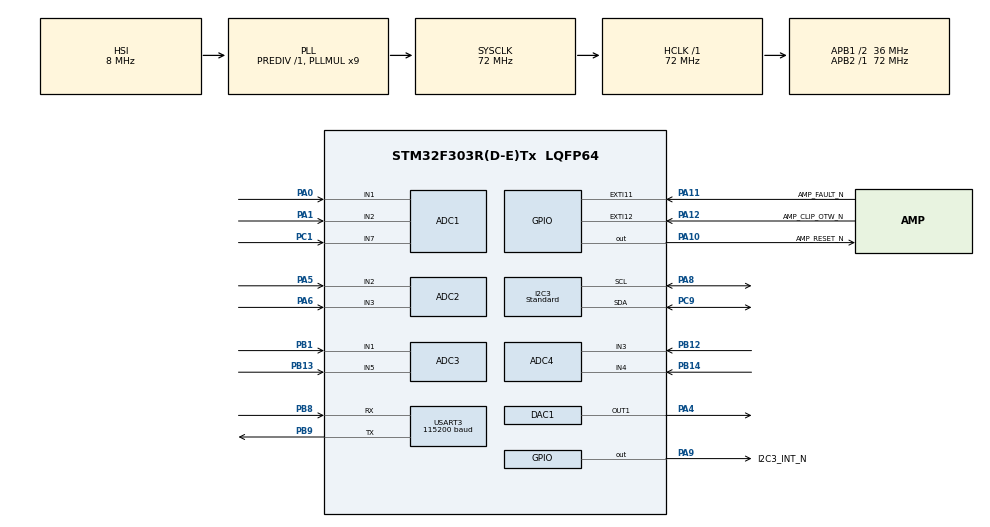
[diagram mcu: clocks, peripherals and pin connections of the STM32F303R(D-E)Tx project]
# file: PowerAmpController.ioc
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ADC1.Channel-2\#ChannelRegularConversion=ADC_CHANNEL_1
ADC1.Channel-4\#ChannelRegularConversion=ADC_CHANNEL_2
ADC1.ContinuousConvMode=ENABLE
ADC1.DMAAccessModeView=DISABLED
ADC1.DMAContinuousRequests=ENABLE
ADC1.DataAlign=ADC_DATAALIGN_LEFT
ADC1.EnableInjectedConversion=ENABLE
ADC1.InjNumberOfConversion=1
ADC1.InjectedChannel-3\#ChannelInjectedConversion=ADC_CHANNEL_7
ADC1.InjectedOffset-3\#ChannelInjectedConversion=0
ADC1.InjectedOffsetNumber-3\#ChannelInjectedConversion=ADC_OFFSET_3
ADC1.InjectedRank-3\#ChannelInjectedConversion=1
ADC1.InjectedSamplingTime-3\#ChannelInjectedConversion=ADC_SAMPLETIME_181CYCLES_5
ADC1.InjectedSamplingTimeOPAMP-3\#ChannelInjectedConversion=ADC_SAMPLETIME_61CYCLES_5
ADC1.Mode=ADC_DUALMODE_REGSIMULT
ADC1.NbrOfConversion=2
ADC1.NbrOfConversionFlag=1
ADC1.Offset-2\#ChannelRegularConversion=2048
ADC1.Offset-4\#ChannelRegularConversion=2048
ADC1.OffsetNumber-2\#ChannelRegularConversion=ADC_OFFSET_1
ADC1.OffsetNumber-4\#ChannelRegularConversion=ADC_OFFSET_2
ADC1.QueueInjectedContext=DISABLE
ADC1.Rank-2\#ChannelRegularConversion=1
ADC1.Rank-4\#ChannelRegularConversion=2
ADC1.Rank1_Channel=ADC_CHANNEL_7
ADC1.SamplingTime-2\#ChannelRegularConversion=ADC_SAMPLETIME_61CYCLES_5
ADC1.SamplingTime-4\#ChannelRegularConversion=ADC_SAMPLETIME_61CYCLES_5
ADC1.SamplingTimeOPAMP-4\#ChannelRegularConversion=ADC_SAMPLETIME_7CYCLES_5
ADC1.SequencerNbRanks=1
ADC1.master=1
ADC2.Channel-5\#ChannelRegularConversion=ADC_CHANNEL_2
ADC2.Channel-6\#ChannelRegularConversion=ADC_CHANNEL_3
ADC2.DMAAccessModeView=DISABLED
ADC2.DMAContinuousRequests=ENABLE
ADC2.DataAlign=ADC_DATAALIGN_LEFT
ADC2.EnableInjectedConversion=DISABLE
ADC2.Mode=ADC_DUALMODE_REGSIMULT
ADC2.NbrOfConversion=2
ADC2.NbrOfConversionFlag=1
ADC2.Offset-5\#ChannelRegularConversion=0
ADC2.Offset-6\#ChannelRegularConversion=0
ADC2.OffsetNumber-5\#ChannelRegularConversion=ADC_OFFSET_1
ADC2.OffsetNumber-6\#ChannelRegularConversion=ADC_OFFSET_2
ADC2.Rank-5\#ChannelRegularConversion=1
ADC2.Rank-6\#ChannelRegularConversion=2
ADC2.SamplingTime-5\#ChannelRegularConversion=ADC_SAMPLETIME_61CYCLES_5
ADC2.SamplingTime-6\#ChannelRegularConversion=ADC_SAMPLETIME_61CYCLES_5
ADC2.SamplingTimeOPAMP-6\#ChannelRegularConversion=ADC_SAMPLETIME_7CYCLES_5
ADC3.Channel-0\#ChannelRegularConversion=ADC_CHANNEL_1
ADC3.Channel-1\#ChannelRegularConversion=ADC_CHANNEL_5
ADC3.ContinuousConvMode=ENABLE
ADC3.DMAAccessModeView=DISABLED
ADC3.DMAContinuousRequests=ENABLE
ADC3.DataAlign=ADC_DATAALIGN_LEFT
ADC3.EnableInjectedConversion=DISABLE
ADC3.Mode=ADC_DUALMODE_REGSIMULT
ADC3.NbrOfConversion=2
ADC3.NbrOfConversionFlag=1
ADC3.Offset-0\#ChannelRegularConversion=2048
ADC3.Offset-1\#ChannelRegularConversion=2048
ADC3.OffsetNumber-0\#ChannelRegularConversion=ADC_OFFSET_1
ADC3.OffsetNumber-1\#ChannelRegularConversion=ADC_OFFSET_2
ADC3.Rank-0\#ChannelRegularConversion=1
ADC3.Rank-1\#ChannelRegularConversion=2
ADC3.SamplingTime-0\#ChannelRegularConversion=ADC_SAMPLETIME_61CYCLES_5
ADC3.SamplingTime-1\#ChannelRegularConversion=ADC_SAMPLETIME_61CYCLES_5
ADC3.SamplingTimeOPAMP-1\#ChannelRegularConversion=ADC_SAMPLETIME_7CYCLES_5
ADC3.master=1
ADC4.Channel-0\#ChannelRegularConversion=ADC_CHANNEL_3
ADC4.Channel-1\#ChannelRegularConversion=ADC_CHANNEL_4
ADC4.DMAAccessModeView=DISABLED
ADC4.DMAContinuousRequests=ENABLE
ADC4.DataAlign=ADC_DATAALIGN_LEFT
ADC4.EnableInjectedConversion=DISABLE
ADC4.Mode=ADC_DUALMODE_REGSIMULT
ADC4.NbrOfConversion=2
ADC4.NbrOfConversionFlag=1
ADC4.Offset-0\#ChannelRegularConversion=0
ADC4.Offset-1\#ChannelRegularConversion=0
ADC4.OffsetNumber-0\#ChannelRegularConversion=ADC_OFFSET_1
ADC4.OffsetNumber-1\#ChannelRegularConversion=ADC_OFFSET_2
ADC4.Rank-0\#ChannelRegularConversion=1
ADC4.Rank-1\#ChannelRegularConversion=2
ADC4.SamplingTime-0\#ChannelRegularConversion=ADC_SAMPLETIME_61CYCLES_5
ADC4.SamplingTime-1\#ChannelRegularConversion=ADC_SAMPLETIME_61CYCLES_5
ADC4.SamplingTimeOPAMP-1\#ChannelRegularConversion=ADC_SAMPLETIME_7CYCLES_5
Dma.ADC1.0.Direction=DMA_PERIPH_TO_MEMORY
Dma.ADC1.0.Instance=DMA1_Channel1
Dma.ADC1.0.MemDataAlignment=DMA_MDATAALIGN_HALFWORD
Dma.ADC1.0.MemInc=DMA_MINC_ENABLE
Dma.ADC1.0.Mode=DMA_CIRCULAR
Dma.ADC1.0.PeriphDataAlignment=DMA_PDATAALIGN_HALFWORD
Dma.ADC1.0.PeriphInc=DMA_PINC_DISABLE
Dma.ADC1.0.Priority=DMA_PRIORITY_HIGH
Dma.ADC2.1.Direction=DMA_PERIPH_TO_MEMORY
Dma.ADC2.1.Instance=DMA2_Channel1
Dma.ADC2.1.MemDataAlignment=DMA_MDATAALIGN_HALFWORD
Dma.ADC2.1.MemInc=DMA_MINC_ENABLE
Dma.ADC2.1.Mode=DMA_CIRCULAR
Dma.ADC2.1.PeriphDataAlignment=DMA_PDATAALIGN_HALFWORD
Dma.ADC2.1.PeriphInc=DMA_PINC_DISABLE
Dma.ADC2.1.Priority=DMA_PRIORITY_HIGH
Dma.ADC3.2.Direction=DMA_PERIPH_TO_MEMORY
Dma.ADC3.2.Instance=DMA2_Channel5
Dma.ADC3.2.MemDataAlignment=DMA_MDATAALIGN_HALFWORD
Dma.ADC3.2.MemInc=DMA_MINC_ENABLE
Dma.ADC3.2.Mode=DMA_CIRCULAR
Dma.ADC3.2.PeriphDataAlignment=DMA_PDATAALIGN_HALFWORD
Dma.ADC3.2.PeriphInc=DMA_PINC_DISABLE
Dma.ADC3.2.Priority=DMA_PRIORITY_HIGH
Dma.ADC4.3.Direction=DMA_PERIPH_TO_MEMORY
Dma.ADC4.3.Instance=DMA2_Channel2
Dma.ADC4.3.MemDataAlignment=DMA_MDATAALIGN_HALFWORD
Dma.ADC4.3.MemInc=DMA_MINC_ENABLE
Dma.ADC4.3.Mode=DMA_CIRCULAR
Dma.ADC4.3.PeriphDataAlignment=DMA_PDATAALIGN_HALFWORD
Dma.ADC4.3.PeriphInc=DMA_PINC_DISABLE
Dma.ADC4.3.Priority=DMA_PRIORITY_HIGH
Dma.Request0=ADC1
Dma.Request1=ADC2
Dma.Request2=ADC3
Dma.Request3=ADC4
I2C3.I2C_Speed_Mode=I2C_Standard
I2C3.NoStretchMode=I2C_NOSTRETCH_DISABLE
I2C3.OwnAddress=17
Mcu.Family=STM32F3
Mcu.Name=STM32F303R(D-E)Tx
Mcu.Package=LQFP64
NVIC.ADC1_2_IRQn=true\:5\:0\:true\:false\:true\:true\:true\:true
NVIC.ADC3_IRQn=true\:5\:0\:true\:false\:true\:true\:true\:true
NVIC.ADC4_IRQn=true\:5\:0\:true\:false\:true\:true\:true\:true
NVIC.DMA1_Channel1_IRQn=true\:4\:0\:true\:false\:true\:false\:true\:true
NVIC.DMA2_Channel1_IRQn=true\:4\:0\:true\:false\:true\:false\:true\:true
NVIC.DMA2_Channel2_IRQn=true\:4\:0\:true\:false\:true\:false\:true\:true
NVIC.DMA2_Channel5_IRQn=true\:4\:0\:true\:false\:true\:false\:true\:true
NVIC.EXTI15_10_IRQn=true\:6\:0\:true\:false\:true\:true\:true\:true
NVIC.I2C3_ER_IRQn=true\:2\:0\:true\:false\:true\:true\:true\:true
NVIC.I2C3_EV_IRQn=true\:3\:0\:true\:false\:true\:true\:true\:true
NVIC.PriorityGroup=NVIC_PRIORITYGROUP_4
NVIC.USART3_IRQn=true\:12\:0\:true\:false\:true\:true\:true\:true
NVIC.WWDG_IRQn=true\:15\:0\:true\:false\:true\:true\:true\:true
PA0.Mode=IN1-Single-Ended
PA0.Signal=ADC1_IN1
PA1.Mode=IN2-Single-Ended
PA1.Signal=ADC1_IN2
PA10.GPIO_Label=AMP_RESET_N
PA10.GPIO_ModeDefaultOutputPP=GPIO_MODE_OUTPUT_OD
PA10.GPIO_PuPd=GPIO_PULLUP
PA10.PinState=GPIO_PIN_RESET
PA10.Signal=GPIO_Output
PA11.GPIO_Label=AMP_FAULT_N
PA11.GPIO_ModeDefaultEXTI=GPIO_MODE_IT_RISING_FALLING
PA11.GPIO_PuPd=GPIO_PULLUP
PA11.Signal=GPXTI11
PA12.GPIO_Label=AMP_CLIP_OTW_N
PA12.GPIO_ModeDefaultEXTI=GPIO_MODE_IT_RISING_FALLING
PA12.GPIO_PuPd=GPIO_PULLUP
PA12.Signal=GPXTI12
PA13.Mode=Serial_Wire
PA13.Signal=SYS_JTMS-SWDIO
PA14.Mode=Serial_Wire
PA14.Signal=SYS_JTCK-SWCLK
PA4.Signal=COMP_DAC11_group
PA5.Mode=IN2-Single-Ended
PA5.Signal=ADC2_IN2
PA6.Mode=IN3-Single-Ended
PA6.Signal=ADC2_IN3
PA8.GPIO_Pu=GPIO_PULLUP
PA8.Mode=I2C
PA8.Signal=I2C3_SCL
PA9.GPIO_Label=I2C3_INT_N
PA9.GPIO_ModeDefaultOutputPP=GPIO_MODE_OUTPUT_OD
PA9.GPIO_PuPd=GPIO_PULLUP
PA9.PinState=GPIO_PIN_SET
PA9.Signal=GPIO_Output
PB1.Mode=IN1-Single-Ended
PB1.Signal=ADC3_IN1
PB12.Mode=IN3-Single-Ended
PB12.Signal=ADC4_IN3
PB13.Mode=IN5-Single-Ended
PB13.Signal=ADC3_IN5
PB14.Mode=IN4-Single-Ended
PB14.Signal=ADC4_IN4
PB8.Mode=Asynchronous
PB8.Signal=USART3_RX
PB9.Mode=Asynchronous
PB9.Signal=USART3_TX
PC1.Signal=ADCx_IN7
PC9.GPIO_Pu=GPIO_PULLUP
PC9.Mode=I2C
PC9.Signal=I2C3_SDA
ProjectManager.HeapSize=0x200
ProjectManager.StackSize=0x400
ProjectManager.TargetToolchain=STM32CubeIDE
RCC.ADC12PRES=RCC_ADC12PLLCLK_DIV4
RCC.ADC34PRES=RCC_ADC34PLLCLK_DIV4
RCC.AHBFreq_Value=72000000
RCC.APB1CLKDivider=RCC_HCLK_DIV2
RCC.APB1Freq_Value=36000000
RCC.APB1TimFreq_Value=72000000
RCC.APB2Freq_Value=72000000
RCC.APB2TimFreq_Value=72000000
RCC.CortexFreq_Value=72000000
RCC.HCLKFreq_Value=72000000
RCC.HSE_VALUE=8000000
RCC.HSI_VALUE=8000000
RCC.LSE_VALUE=32768
RCC.PLLMUL=RCC_PLL_MUL9
RCC.SYSCLKFreq_VALUE=72000000
RCC.SYSCLKSourceVirtual=RCC_SYSCLKSOURCE_PLLCLK
RCC.USBFreq_Value=72000000
SH.ADCx_IN7.0=ADC1_IN7,IN7-Single-Ended
SH.COMP_DAC11_group.0=DAC1_OUT1,DAC_OUT1
USART3.BaudRate=115200
USART3.VirtualMode-Asynchronous=VM_ASYNC
VP_IWDG_VS_IWDG.Mode=IWDG_Activate
VP_WWDG_VS_WWDG.Mode=WWDG_Activate
WWDG.Counter=127
WWDG.EWIMode=WWDG_EWI_ENABLE
WWDG.Prescaler=WWDG_PRESCALER_8
WWDG.Window=127
board=custom

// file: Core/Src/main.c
/* USER CODE BEGIN Header */
/**
  ******************************************************************************
  * @file           : main.c
  * @brief          : Main program body
  ******************************************************************************
  * @attention
  *
  * Copyright (c) 2024 STMicroelectronics.
  * All rights reserved.
  *
  * This software is licensed under terms that can be found in the LICENSE file
  * in the root directory of this software component.
  * If no LICENSE file comes with this software, it is provided AS-IS.
  *
  ******************************************************************************
  */
/* USER CODE END Header */
#include "main.h"

/* USER CODE BEGIN Includes */
#include "retarget.h"
#include "stdio.h"
#include "adc.h"
#include "pvdd_control.h"
#include "safety.h"
#include "i2c.h"
/* USER CODE END Includes */

ADC_HandleTypeDef hadc1;
ADC_HandleTypeDef hadc2;
ADC_HandleTypeDef hadc3;
ADC_HandleTypeDef hadc4;
DMA_HandleTypeDef hdma_adc1;
DMA_HandleTypeDef hdma_adc2;
DMA_HandleTypeDef hdma_adc3;
DMA_HandleTypeDef hdma_adc4;

DAC_HandleTypeDef hdac1;

I2C_HandleTypeDef hi2c3;

IWDG_HandleTypeDef hiwdg;

UART_HandleTypeDef huart3;

WWDG_HandleTypeDef hwwdg;

/* USER CODE BEGIN PV */
static uint32_t wwdg_early_wakeups = 0;

static uint32_t clip_otw_last_assert_tick = 0;
static uint32_t clip_otw_last_clear_tick = 0;
bool clip_detected = false;
bool otw_detected = false;
/* USER CODE END PV */

void SystemClock_Config(void);
static void MX_GPIO_Init(void);
static void MX_DMA_Init(void);
static void MX_ADC1_Init(void);
static void MX_ADC2_Init(void);
static void MX_ADC3_Init(void);
static void MX_ADC4_Init(void);
static void MX_DAC1_Init(void);
static void MX_I2C3_Init(void);
static void MX_USART3_UART_Init(void);
static void MX_IWDG_Init(void);
static void MX_WWDG_Init(void);

/* USER CODE BEGIN 0 */
void HAL_GPIO_EXTI_Callback(uint16_t GPIO_Pin) {
  if (GPIO_Pin == AMP_FAULT_N_Pin) {
    if (HAL_GPIO_ReadPin(AMP_FAULT_N_GPIO_Port, AMP_FAULT_N_Pin) == GPIO_PIN_SET) {
      DEBUG_PRINTF("Amp Fault Cleared\n");
    } else {
      DEBUG_PRINTF("Amp Fault Detected!!\n");
      I2C_TriggerInterrupt(I2CDEF_POWERAMP_INT_FLAGS_INT_AMP_FAULT_Msk);
    }
  } else if (GPIO_Pin == AMP_CLIP_OTW_N_Pin) {
    //just store the current tick in corresponding variable
    if (HAL_GPIO_ReadPin(AMP_CLIP_OTW_N_GPIO_Port, AMP_CLIP_OTW_N_Pin) == GPIO_PIN_RESET) {
      //asserted
      clip_otw_last_assert_tick = HAL_GetTick();
    } else {
      //cleared
      clip_otw_last_clear_tick = HAL_GetTick();
    }
  }
}

void HAL_WWDG_EarlyWakeupCallback(WWDG_HandleTypeDef *hwwdg) {
  //if this interrupt gets through: we are not stuck in any other interrupt (since this one is lowest priority)
  //allow a limited number of refreshes in this case (main loop can "freeze" for a little longer this way if needed)
  if (wwdg_early_wakeups < MAIN_WWDG_EARLYWAKE_MAX) {
    wwdg_early_wakeups++;
    HAL_WWDG_Refresh(hwwdg);
    DEBUG_PRINTF("WWDG Early wakeup %lu\n", wwdg_early_wakeups);
  }
}

static __always_inline void _RefreshWatchdogs() {
  HAL_WWDG_Refresh(&hwwdg);
  wwdg_early_wakeups = 0;
  HAL_IWDG_Refresh(&hiwdg);
}

void RefreshWatchdogsExt() {
  _RefreshWatchdogs();
}
/* USER CODE END 0 */

int main(void)
{

  /* MCU Configuration--------------------------------------------------------*/

  /* Reset of all peripherals, Initializes the Flash interface and the Systick. */
  HAL_Init();

  /* Configure the system clock */
  SystemClock_Config();

  /* USER CODE BEGIN SysInit */
  //below: moved DAC1 init to the very start
  /* USER CODE END SysInit */

  /* Initialize all configured peripherals */
  MX_DAC1_Init();
  MX_GPIO_Init();
  MX_DMA_Init();
  MX_ADC1_Init();
  MX_ADC2_Init();
  MX_ADC3_Init();
  MX_ADC4_Init();
  MX_I2C3_Init();
  MX_USART3_UART_Init();
  MX_IWDG_Init();
  MX_WWDG_Init();
  /* USER CODE BEGIN 2 */

  RetargetInit(&huart3);

  _RefreshWatchdogs();

  DEBUG_PRINTF("Controller started\n");

  _RefreshWatchdogs();

  DEBUG_PRINTF("Initializing PVDD control...\n");
  if (PVDD_Init() != HAL_OK) {
    Error_Handler();
  }

  _RefreshWatchdogs();
  HAL_Delay(10);
  _RefreshWatchdogs();

  DEBUG_PRINTF("Calibrating ADC...\n");
  if (ADC_Calibrate() != HAL_OK) {
    Error_Handler();
  }

  _RefreshWatchdogs();

  DEBUG_PRINTF("ADC cal complete, starting monitoring\n");
  if (ADC_StartMonitoring() != HAL_OK) {
    Error_Handler();
  }

  HAL_Delay(10);
  _RefreshWatchdogs();

  DEBUG_PRINTF("Initializing safety system...\n");
  if (SAFETY_Init() != HAL_OK) {
    Error_Handler();
  }

  HAL_Delay(10);
  _RefreshWatchdogs();

  DEBUG_PRINTF("Initializing I2C...\n");
  if (I2C_Init() != HAL_OK) {
    Error_Handler();
  }

  HAL_Delay(10);
  _RefreshWatchdogs();

  DEBUG_PRINTF("Amp state: fault %d clip %d\n", HAL_GPIO_ReadPin(AMP_FAULT_N_GPIO_Port, AMP_FAULT_N_Pin), HAL_GPIO_ReadPin(AMP_CLIP_OTW_N_GPIO_Port, AMP_CLIP_OTW_N_Pin));

  DEBUG_PRINTF("Init complete!\n");

  /* USER CODE END 2 */

  /* Infinite loop */
  while (1) {

    /* USER CODE BEGIN 3 */
    uint32_t iteration_start_tick = HAL_GetTick();

    //check clip/otw last edges: if close enough to each other and now, detect clipping
    if (clip_otw_last_assert_tick - clip_otw_last_clear_tick < 25 && iteration_start_tick - clip_otw_last_clear_tick < 40) {
      if (!clip_detected && !otw_detected) {
        clip_detected = true;
        I2C_TriggerInterrupt(I2CDEF_POWERAMP_INT_FLAGS_INT_CLIP_DET_Msk);
      }
    }
    //check clip/otw state
    if (HAL_GPIO_ReadPin(AMP_CLIP_OTW_N_GPIO_Port, AMP_CLIP_OTW_N_Pin) == GPIO_PIN_RESET) {
      //asserted: detect OTW if last assert edge was long enough ago (i.e. long enough pulse)
      if (iteration_start_tick - clip_otw_last_assert_tick > 25) {
        otw_detected = true;
        clip_detected = false;
        I2C_TriggerInterrupt(I2CDEF_POWERAMP_INT_FLAGS_INT_OTW_DET_Msk);
      }
    } else {
      //cleared: clear OTW, and if last clear edge is long enough ago, clear clipping too
      otw_detected = false;
      if (iteration_start_tick - clip_otw_last_clear_tick > 30) {
        clip_detected = false;
      }
    }

#ifdef DISABLED___DEBUG
    static uint32_t cycle_count = 0;
    if (cycle_count++ * MAIN_LOOP_PERIOD_MS >= 1000) {
      cycle_count = 0;
      printf("---------------------\n");
      printf("PVDD: %6.3f valid %d - amp shutdown %d\n", pvdd_voltage_measured, pvdd_valid_voltage, is_shutdown);
      printf("Vrms: %7.3f/%7.3f  %7.3f/%7.3f  %7.3f/%7.3f  %7.3f/%7.3f\n", rms_voltage_0s1[0], rms_voltage_1s0[0], rms_voltage_0s1[1], rms_voltage_1s0[1], rms_voltage_0s1[2], rms_voltage_1s0[2], rms_voltage_0s1[3], rms_voltage_1s0[3]);
      printf("Irms: %7.3f/%7.3f  %7.3f/%7.3f  %7.3f/%7.3f  %7.3f/%7.3f\n", rms_current_0s1[0], rms_current_1s0[0], rms_current_0s1[1], rms_current_1s0[1], rms_current_0s1[2], rms_current_1s0[2], rms_current_0s1[3], rms_current_1s0[3]);
      printf("Pavg: %7.3f/%7.3f  %7.3f/%7.3f  %7.3f/%7.3f  %7.3f/%7.3f\n", avg_real_power_0s1[0], avg_real_power_1s0[0], avg_real_power_0s1[1], avg_real_power_1s0[1], avg_real_power_0s1[2], avg_real_power_1s0[2], avg_real_power_0s1[3], avg_real_power_1s0[3]);
      printf("Papp: %7.3f/%7.3f  %7.3f/%7.3f  %7.3f/%7.3f  %7.3f/%7.3f\n", avg_apparent_power_0s1[0], avg_apparent_power_1s0[0], avg_apparent_power_0s1[1], avg_apparent_power_1s0[1], avg_apparent_power_0s1[2], avg_apparent_power_1s0[2], avg_apparent_power_0s1[3], avg_apparent_power_1s0[3]);
    }
#endif

    PVDD_LoopUpdate();
    SAFETY_LoopUpdate();
    I2C_LoopUpdate();

    _RefreshWatchdogs();
    while((HAL_GetTick() - iteration_start_tick) < MAIN_LOOP_PERIOD_MS); //replaces HAL_Delay() to not wait any unnecessary extra ticks
  }
  /* USER CODE END 3 */
}

void SystemClock_Config(void)
{
  RCC_OscInitTypeDef RCC_OscInitStruct = {0};
  RCC_ClkInitTypeDef RCC_ClkInitStruct = {0};
  RCC_PeriphCLKInitTypeDef PeriphClkInit = {0};

  /** Initializes the RCC Oscillators according to the specified parameters
  * in the RCC_OscInitTypeDef structure.
  */
  RCC_OscInitStruct.OscillatorType = RCC_OSCILLATORTYPE_HSI|RCC_OSCILLATORTYPE_LSI;
  RCC_OscInitStruct.HSIState = RCC_HSI_ON;
  RCC_OscInitStruct.HSICalibrationValue = RCC_HSICALIBRATION_DEFAULT;
  RCC_OscInitStruct.LSIState = RCC_LSI_ON;
  RCC_OscInitStruct.PLL.PLLState = RCC_PLL_ON;
  RCC_OscInitStruct.PLL.PLLSource = RCC_PLLSOURCE_HSI;
  RCC_OscInitStruct.PLL.PLLMUL = RCC_PLL_MUL9;
  RCC_OscInitStruct.PLL.PREDIV = RCC_PREDIV_DIV1;
  if (HAL_RCC_OscConfig(&RCC_OscInitStruct) != HAL_OK)
  {
    Error_Handler();
  }

  /** Initializes the CPU, AHB and APB buses clocks
  */
  RCC_ClkInitStruct.ClockType = RCC_CLOCKTYPE_HCLK|RCC_CLOCKTYPE_SYSCLK
                              |RCC_CLOCKTYPE_PCLK1|RCC_CLOCKTYPE_PCLK2;
  RCC_ClkInitStruct.SYSCLKSource = RCC_SYSCLKSOURCE_PLLCLK;
  RCC_ClkInitStruct.AHBCLKDivider = RCC_SYSCLK_DIV1;
  RCC_ClkInitStruct.APB1CLKDivider = RCC_HCLK_DIV2;
  RCC_ClkInitStruct.APB2CLKDivider = RCC_HCLK_DIV1;

  if (HAL_RCC_ClockConfig(&RCC_ClkInitStruct, FLASH_LATENCY_2) != HAL_OK)
  {
    Error_Handler();
  }
  PeriphClkInit.PeriphClockSelection = RCC_PERIPHCLK_USART3|RCC_PERIPHCLK_I2C3
                              |RCC_PERIPHCLK_ADC12|RCC_PERIPHCLK_ADC34;
  PeriphClkInit.Usart3ClockSelection = RCC_USART3CLKSOURCE_PCLK1;
  PeriphClkInit.Adc12ClockSelection = RCC_ADC12PLLCLK_DIV4;
  PeriphClkInit.Adc34ClockSelection = RCC_ADC34PLLCLK_DIV4;
  PeriphClkInit.I2c3ClockSelection = RCC_I2C3CLKSOURCE_HSI;
  if (HAL_RCCEx_PeriphCLKConfig(&PeriphClkInit) != HAL_OK)
  {
    Error_Handler();
  }
}

static void MX_ADC1_Init(void)
{

  ADC_MultiModeTypeDef multimode = {0};
  ADC_ChannelConfTypeDef sConfig = {0};
  ADC_InjectionConfTypeDef sConfigInjected = {0};

  /** Common config
  */
  hadc1.Instance = ADC1;
  hadc1.Init.ClockPrescaler = ADC_CLOCK_ASYNC_DIV1;
  hadc1.Init.Resolution = ADC_RESOLUTION_12B;
  hadc1.Init.ScanConvMode = ADC_SCAN_ENABLE;
  hadc1.Init.ContinuousConvMode = ENABLE;
  hadc1.Init.DiscontinuousConvMode = DISABLE;
  hadc1.Init.ExternalTrigConvEdge = ADC_EXTERNALTRIGCONVEDGE_NONE;
  hadc1.Init.ExternalTrigConv = ADC_SOFTWARE_START;
  hadc1.Init.DataAlign = ADC_DATAALIGN_LEFT;
  hadc1.Init.NbrOfConversion = 2;
  hadc1.Init.DMAContinuousRequests = ENABLE;
  hadc1.Init.EOCSelection = ADC_EOC_SINGLE_CONV;
  hadc1.Init.LowPowerAutoWait = DISABLE;
  hadc1.Init.Overrun = ADC_OVR_DATA_OVERWRITTEN;
  if (HAL_ADC_Init(&hadc1) != HAL_OK)
  {
    Error_Handler();
  }

  /** Configure the ADC multi-mode
  */
  multimode.Mode = ADC_DUALMODE_REGSIMULT;
  multimode.DMAAccessMode = ADC_DMAACCESSMODE_DISABLED;
  multimode.TwoSamplingDelay = ADC_TWOSAMPLINGDELAY_1CYCLE;
  if (HAL_ADCEx_MultiModeConfigChannel(&hadc1, &multimode) != HAL_OK)
  {
    Error_Handler();
  }

  /** Configure Regular Channel
  */
  sConfig.Channel = ADC_CHANNEL_1;
  sConfig.Rank = ADC_REGULAR_RANK_1;
  sConfig.SingleDiff = ADC_SINGLE_ENDED;
  sConfig.SamplingTime = ADC_SAMPLETIME_61CYCLES_5;
  sConfig.OffsetNumber = ADC_OFFSET_1;
  sConfig.Offset = 2048;
  if (HAL_ADC_ConfigChannel(&hadc1, &sConfig) != HAL_OK)
  {
    Error_Handler();
  }

  /** Configure Regular Channel
  */
  sConfig.Channel = ADC_CHANNEL_2;
  sConfig.Rank = ADC_REGULAR_RANK_2;
  sConfig.OffsetNumber = ADC_OFFSET_2;
  if (HAL_ADC_ConfigChannel(&hadc1, &sConfig) != HAL_OK)
  {
    Error_Handler();
  }

  /** Configure Injected Channel
  */
  sConfigInjected.InjectedChannel = ADC_CHANNEL_7;
  sConfigInjected.InjectedRank = ADC_INJECTED_RANK_1;
  sConfigInjected.InjectedSingleDiff = ADC_SINGLE_ENDED;
  sConfigInjected.InjectedNbrOfConversion = 1;
  sConfigInjected.InjectedSamplingTime = ADC_SAMPLETIME_181CYCLES_5;
  sConfigInjected.ExternalTrigInjecConvEdge = ADC_EXTERNALTRIGINJECCONV_EDGE_RISING;
  sConfigInjected.ExternalTrigInjecConv = ADC_INJECTED_SOFTWARE_START;
  sConfigInjected.AutoInjectedConv = DISABLE;
  sConfigInjected.InjectedDiscontinuousConvMode = DISABLE;
  sConfigInjected.QueueInjectedContext = DISABLE;
  sConfigInjected.InjectedOffset = 0;
  sConfigInjected.InjectedOffsetNumber = ADC_OFFSET_3;
  if (HAL_ADCEx_InjectedConfigChannel(&hadc1, &sConfigInjected) != HAL_OK)
  {
    Error_Handler();
  }

}

static void MX_ADC2_Init(void)
{

  ADC_ChannelConfTypeDef sConfig = {0};

  /** Common config
  */
  hadc2.Instance = ADC2;
  hadc2.Init.ClockPrescaler = ADC_CLOCK_ASYNC_DIV1;
  hadc2.Init.Resolution = ADC_RESOLUTION_12B;
  hadc2.Init.ScanConvMode = ADC_SCAN_ENABLE;
  hadc2.Init.ContinuousConvMode = ENABLE;
  hadc2.Init.DiscontinuousConvMode = DISABLE;
  hadc2.Init.DataAlign = ADC_DATAALIGN_LEFT;
  hadc2.Init.NbrOfConversion = 2;
  hadc2.Init.DMAContinuousRequests = ENABLE;
  hadc2.Init.EOCSelection = ADC_EOC_SINGLE_CONV;
  hadc2.Init.LowPowerAutoWait = DISABLE;
  hadc2.Init.Overrun = ADC_OVR_DATA_OVERWRITTEN;
  if (HAL_ADC_Init(&hadc2) != HAL_OK)
  {
    Error_Handler();
  }

  /** Configure Regular Channel
  */
  sConfig.Channel = ADC_CHANNEL_2;
  sConfig.Rank = ADC_REGULAR_RANK_1;
  sConfig.SingleDiff = ADC_SINGLE_ENDED;
  sConfig.SamplingTime = ADC_SAMPLETIME_61CYCLES_5;
  sConfig.OffsetNumber = ADC_OFFSET_1;
  sConfig.Offset = 0;
  if (HAL_ADC_ConfigChannel(&hadc2, &sConfig) != HAL_OK)
  {
    Error_Handler();
  }

  /** Configure Regular Channel
  */
  sConfig.Channel = ADC_CHANNEL_3;
  sConfig.Rank = ADC_REGULAR_RANK_2;
  sConfig.OffsetNumber = ADC_OFFSET_2;
  if (HAL_ADC_ConfigChannel(&hadc2, &sConfig) != HAL_OK)
  {
    Error_Handler();
  }

}

static void MX_ADC3_Init(void)
{

  ADC_MultiModeTypeDef multimode = {0};
  ADC_ChannelConfTypeDef sConfig = {0};

  /** Common config
  */
  hadc3.Instance = ADC3;
  hadc3.Init.ClockPrescaler = ADC_CLOCK_ASYNC_DIV1;
  hadc3.Init.Resolution = ADC_RESOLUTION_12B;
  hadc3.Init.ScanConvMode = ADC_SCAN_ENABLE;
  hadc3.Init.ContinuousConvMode = ENABLE;
  hadc3.Init.DiscontinuousConvMode = DISABLE;
  hadc3.Init.ExternalTrigConvEdge = ADC_EXTERNALTRIGCONVEDGE_NONE;
  hadc3.Init.ExternalTrigConv = ADC_SOFTWARE_START;
  hadc3.Init.DataAlign = ADC_DATAALIGN_LEFT;
  hadc3.Init.NbrOfConversion = 2;
  hadc3.Init.DMAContinuousRequests = ENABLE;
  hadc3.Init.EOCSelection = ADC_EOC_SINGLE_CONV;
  hadc3.Init.LowPowerAutoWait = DISABLE;
  hadc3.Init.Overrun = ADC_OVR_DATA_OVERWRITTEN;
  if (HAL_ADC_Init(&hadc3) != HAL_OK)
  {
    Error_Handler();
  }

  /** Configure the ADC multi-mode
  */
  multimode.Mode = ADC_DUALMODE_REGSIMULT;
  multimode.DMAAccessMode = ADC_DMAACCESSMODE_DISABLED;
  multimode.TwoSamplingDelay = ADC_TWOSAMPLINGDELAY_1CYCLE;
  if (HAL_ADCEx_MultiModeConfigChannel(&hadc3, &multimode) != HAL_OK)
  {
    Error_Handler();
  }

  /** Configure Regular Channel
  */
  sConfig.Channel = ADC_CHANNEL_1;
  sConfig.Rank = ADC_REGULAR_RANK_1;
  sConfig.SingleDiff = ADC_SINGLE_ENDED;
  sConfig.SamplingTime = ADC_SAMPLETIME_61CYCLES_5;
  sConfig.OffsetNumber = ADC_OFFSET_1;
  sConfig.Offset = 2048;
  if (HAL_ADC_ConfigChannel(&hadc3, &sConfig) != HAL_OK)
  {
    Error_Handler();
  }

  /** Configure Regular Channel
  */
  sConfig.Channel = ADC_CHANNEL_5;
  sConfig.Rank = ADC_REGULAR_RANK_2;
  sConfig.OffsetNumber = ADC_OFFSET_2;
  if (HAL_ADC_ConfigChannel(&hadc3, &sConfig) != HAL_OK)
  {
    Error_Handler();
  }

}

static void MX_ADC4_Init(void)
{

  ADC_ChannelConfTypeDef sConfig = {0};

  /** Common config
  */
  hadc4.Instance = ADC4;
  hadc4.Init.ClockPrescaler = ADC_CLOCK_ASYNC_DIV1;
  hadc4.Init.Resolution = ADC_RESOLUTION_12B;
  hadc4.Init.ScanConvMode = ADC_SCAN_ENABLE;
  hadc4.Init.ContinuousConvMode = ENABLE;
  hadc4.Init.DiscontinuousConvMode = DISABLE;
  hadc4.Init.DataAlign = ADC_DATAALIGN_LEFT;
  hadc4.Init.NbrOfConversion = 2;
  hadc4.Init.DMAContinuousRequests = ENABLE;
  hadc4.Init.EOCSelection = ADC_EOC_SINGLE_CONV;
  hadc4.Init.LowPowerAutoWait = DISABLE;
  hadc4.Init.Overrun = ADC_OVR_DATA_OVERWRITTEN;
  if (HAL_ADC_Init(&hadc4) != HAL_OK)
  {
    Error_Handler();
  }

  /** Configure Regular Channel
  */
  sConfig.Channel = ADC_CHANNEL_3;
  sConfig.Rank = ADC_REGULAR_RANK_1;
  sConfig.SingleDiff = ADC_SINGLE_ENDED;
  sConfig.SamplingTime = ADC_SAMPLETIME_61CYCLES_5;
  sConfig.OffsetNumber = ADC_OFFSET_1;
  sConfig.Offset = 0;
  if (HAL_ADC_ConfigChannel(&hadc4, &sConfig) != HAL_OK)
  {
    Error_Handler();
  }

  /** Configure Regular Channel
  */
  sConfig.Channel = ADC_CHANNEL_4;
  sConfig.Rank = ADC_REGULAR_RANK_2;
  sConfig.OffsetNumber = ADC_OFFSET_2;
  if (HAL_ADC_ConfigChannel(&hadc4, &sConfig) != HAL_OK)
  {
    Error_Handler();
  }

}

static void MX_DAC1_Init(void)
{

  DAC_ChannelConfTypeDef sConfig = {0};

  /** DAC Initialization
  */
  hdac1.Instance = DAC1;
  if (HAL_DAC_Init(&hdac1) != HAL_OK)
  {
    Error_Handler();
  }

  /** DAC channel OUT1 config
  */
  sConfig.DAC_Trigger = DAC_TRIGGER_NONE;
  sConfig.DAC_OutputBuffer = DAC_OUTPUTBUFFER_ENABLE;
  if (HAL_DAC_ConfigChannel(&hdac1, &sConfig, DAC_CHANNEL_1) != HAL_OK)
  {
    Error_Handler();
  }
  /* USER CODE BEGIN DAC1_Init 2 */

  //pre-initialise DAC to safe output as soon as possible
  HAL_DAC_SetValue(&hdac1, DAC_CHANNEL_1, DAC_ALIGN_12B_R, PVDD_INIT_DAC_VALUE);
  HAL_DAC_Start(&hdac1, DAC_CHANNEL_1);

  /* USER CODE END DAC1_Init 2 */

}

static void MX_I2C3_Init(void)
{

  hi2c3.Instance = I2C3;
  hi2c3.Init.Timing = 0x2000090E;
  hi2c3.Init.OwnAddress1 = 34;
  hi2c3.Init.AddressingMode = I2C_ADDRESSINGMODE_7BIT;
  hi2c3.Init.DualAddressMode = I2C_DUALADDRESS_DISABLE;
  hi2c3.Init.OwnAddress2 = 0;
  hi2c3.Init.OwnAddress2Masks = I2C_OA2_NOMASK;
  hi2c3.Init.GeneralCallMode = I2C_GENERALCALL_DISABLE;
  hi2c3.Init.NoStretchMode = I2C_NOSTRETCH_DISABLE;
  if (HAL_I2C_Init(&hi2c3) != HAL_OK)
  {
    Error_Handler();
  }

  /** Configure Analogue filter
  */
  if (HAL_I2CEx_ConfigAnalogFilter(&hi2c3, I2C_ANALOGFILTER_ENABLE) != HAL_OK)
  {
    Error_Handler();
  }

  /** Configure Digital filter
  */
  if (HAL_I2CEx_ConfigDigitalFilter(&hi2c3, 0) != HAL_OK)
  {
    Error_Handler();
  }

}

static void MX_IWDG_Init(void)
{

  hiwdg.Instance = IWDG;
  hiwdg.Init.Prescaler = IWDG_PRESCALER_4;
  hiwdg.Init.Window = 4095;
  hiwdg.Init.Reload = 4095;
  if (HAL_IWDG_Init(&hiwdg) != HAL_OK)
  {
    Error_Handler();
  }

}

static void MX_USART3_UART_Init(void)
{

  huart3.Instance = USART3;
  huart3.Init.BaudRate = 115200;
  huart3.Init.WordLength = UART_WORDLENGTH_8B;
  huart3.Init.StopBits = UART_STOPBITS_1;
  huart3.Init.Parity = UART_PARITY_NONE;
  huart3.Init.Mode = UART_MODE_TX_RX;
  huart3.Init.HwFlowCtl = UART_HWCONTROL_NONE;
  huart3.Init.OverSampling = UART_OVERSAMPLING_16;
  huart3.Init.OneBitSampling = UART_ONE_BIT_SAMPLE_DISABLE;
  huart3.AdvancedInit.AdvFeatureInit = UART_ADVFEATURE_NO_INIT;
  if (HAL_UART_Init(&huart3) != HAL_OK)
  {
    Error_Handler();
  }

}

static void MX_WWDG_Init(void)
{

  hwwdg.Instance = WWDG;
  hwwdg.Init.Prescaler = WWDG_PRESCALER_8;
  hwwdg.Init.Window = 127;
  hwwdg.Init.Counter = 127;
  hwwdg.Init.EWIMode = WWDG_EWI_ENABLE;
  if (HAL_WWDG_Init(&hwwdg) != HAL_OK)
  {
    Error_Handler();
  }

}

static void MX_DMA_Init(void)
{

  /* DMA controller clock enable */
  __HAL_RCC_DMA1_CLK_ENABLE();
  __HAL_RCC_DMA2_CLK_ENABLE();

  /* DMA interrupt init */
  /* DMA1_Channel1_IRQn interrupt configuration */
  HAL_NVIC_SetPriority(DMA1_Channel1_IRQn, 4, 0);
  HAL_NVIC_EnableIRQ(DMA1_Channel1_IRQn);
  /* DMA2_Channel1_IRQn interrupt configuration */
  HAL_NVIC_SetPriority(DMA2_Channel1_IRQn, 4, 0);
  HAL_NVIC_EnableIRQ(DMA2_Channel1_IRQn);
  /* DMA2_Channel2_IRQn interrupt configuration */
  HAL_NVIC_SetPriority(DMA2_Channel2_IRQn, 4, 0);
  HAL_NVIC_EnableIRQ(DMA2_Channel2_IRQn);
  /* DMA2_Channel5_IRQn interrupt configuration */
  HAL_NVIC_SetPriority(DMA2_Channel5_IRQn, 4, 0);
  HAL_NVIC_EnableIRQ(DMA2_Channel5_IRQn);

}

static void MX_GPIO_Init(void)
{
  GPIO_InitTypeDef GPIO_InitStruct = {0};

  /* GPIO Ports Clock Enable */
  __HAL_RCC_GPIOC_CLK_ENABLE();
  __HAL_RCC_GPIOA_CLK_ENABLE();
  __HAL_RCC_GPIOB_CLK_ENABLE();

  /*Configure GPIO pin Output Level */
  HAL_GPIO_WritePin(I2C3_INT_N_GPIO_Port, I2C3_INT_N_Pin, GPIO_PIN_SET);

  /*Configure GPIO pin Output Level */
  HAL_GPIO_WritePin(AMP_RESET_N_GPIO_Port, AMP_RESET_N_Pin, GPIO_PIN_RESET);

  /*Configure GPIO pins : I2C3_INT_N_Pin AMP_RESET_N_Pin */
  GPIO_InitStruct.Pin = I2C3_INT_N_Pin|AMP_RESET_N_Pin;
  GPIO_InitStruct.Mode = GPIO_MODE_OUTPUT_OD;
  GPIO_InitStruct.Pull = GPIO_PULLUP;
  GPIO_InitStruct.Speed = GPIO_SPEED_FREQ_LOW;
  HAL_GPIO_Init(GPIOA, &GPIO_InitStruct);

  /*Configure GPIO pins : AMP_FAULT_N_Pin AMP_CLIP_OTW_N_Pin */
  GPIO_InitStruct.Pin = AMP_FAULT_N_Pin|AMP_CLIP_OTW_N_Pin;
  GPIO_InitStruct.Mode = GPIO_MODE_IT_RISING_FALLING;
  GPIO_InitStruct.Pull = GPIO_PULLUP;
  HAL_GPIO_Init(GPIOA, &GPIO_InitStruct);

  /* EXTI interrupt init*/
  HAL_NVIC_SetPriority(EXTI15_10_IRQn, 6, 0);
  HAL_NVIC_EnableIRQ(EXTI15_10_IRQn);

}

void Error_Handler(void)
{
  __disable_irq();
  while (1)
  {
  }
}
